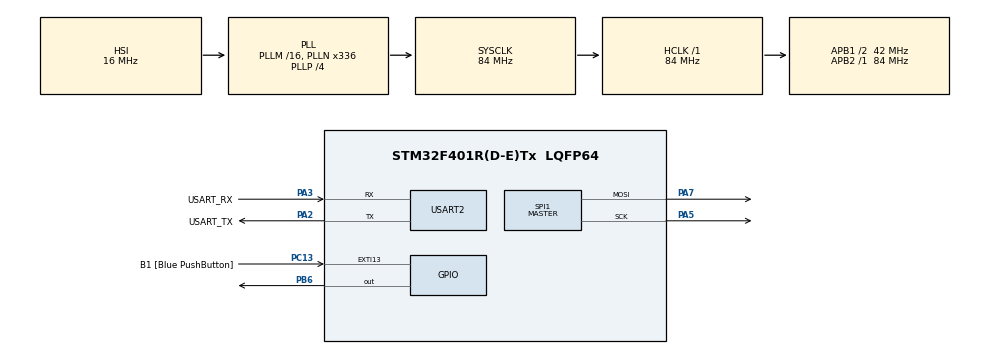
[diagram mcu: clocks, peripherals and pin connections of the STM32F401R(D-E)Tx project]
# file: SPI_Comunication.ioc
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Mcu.Family=STM32F4
Mcu.Name=STM32F401R(D-E)Tx
Mcu.Package=LQFP64
NVIC.PriorityGroup=NVIC_PRIORITYGROUP_0
NVIC.TIM2_IRQn=true\:0\:0\:false\:false\:true\:true\:true\:true
PA13.GPIO_Label=TMS
PA13.Mode=Serial_Wire
PA13.Signal=SYS_JTMS-SWDIO
PA14.GPIO_Label=TCK
PA14.Mode=Serial_Wire
PA14.Signal=SYS_JTCK-SWCLK
PA2.GPIO_Label=USART_TX
PA2.GPIO_Mode=GPIO_MODE_AF_PP
PA2.GPIO_PuPd=GPIO_NOPULL
PA2.GPIO_Speed=GPIO_SPEED_FREQ_LOW
PA2.Mode=Asynchronous
PA2.Signal=USART2_TX
PA3.GPIO_Label=USART_RX
PA3.GPIO_Mode=GPIO_MODE_AF_PP
PA3.GPIO_PuPd=GPIO_NOPULL
PA3.GPIO_Speed=GPIO_SPEED_FREQ_LOW
PA3.Mode=Asynchronous
PA3.Signal=USART2_RX
PA5.Mode=TX_Only_Simplex_Unidirect_Master
PA5.Signal=SPI1_SCK
PA7.Mode=TX_Only_Simplex_Unidirect_Master
PA7.Signal=SPI1_MOSI
PB3.GPIO_Label=SWO
PB3.Signal=SYS_JTDO-SWO
PB6.Signal=GPIO_Output
PC13-ANTI_TAMP.GPIO_Label=B1 [Blue PushButton]
PC13-ANTI_TAMP.GPIO_ModeDefaultEXTI=GPIO_MODE_IT_FALLING
PC13-ANTI_TAMP.GPIO_PuPd=GPIO_NOPULL
PC13-ANTI_TAMP.Signal=GPXTI13
PC14-OSC32_IN.Mode=LSE-External-Oscillator
PC14-OSC32_IN.Signal=RCC_OSC32_IN
PC15-OSC32_OUT.Mode=LSE-External-Oscillator
PC15-OSC32_OUT.Signal=RCC_OSC32_OUT
PH0\ -\ OSC_IN.Mode=HSE-External-Clock-Source
PH0\ -\ OSC_IN.Signal=RCC_OSC_IN
PH1\ -\ OSC_OUT.Mode=HSE-External-Clock-Source
PH1\ -\ OSC_OUT.Signal=RCC_OSC_OUT
ProjectManager.HeapSize=0x200
ProjectManager.StackSize=0x400
ProjectManager.TargetToolchain=STM32CubeIDE
RCC.48MHZClocksFreq_Value=48000000
RCC.AHBFreq_Value=84000000
RCC.APB1CLKDivider=RCC_HCLK_DIV2
RCC.APB1Freq_Value=42000000
RCC.APB1TimFreq_Value=84000000
RCC.APB2Freq_Value=84000000
RCC.APB2TimFreq_Value=84000000
RCC.CortexFreq_Value=84000000
RCC.HCLKFreq_Value=84000000
RCC.HSE_VALUE=8000000
RCC.HSI_VALUE=16000000
RCC.PLLN=336
RCC.PLLP=RCC_PLLP_DIV4
RCC.PLLQ=7
RCC.SYSCLKFreq_VALUE=84000000
RCC.SYSCLKSource=RCC_SYSCLKSOURCE_PLLCLK
RCC.VCOOutputFreq_Value=336000000
SPI1.BaudRatePrescaler=SPI_BAUDRATEPRESCALER_4
SPI1.Direction=SPI_DIRECTION_2LINES
SPI1.Mode=SPI_MODE_MASTER
SPI1.VirtualType=VM_MASTER
TIM2.Period=4000-1
TIM2.Prescaler=84-1
USART2.VirtualMode=VM_ASYNC
VP_TIM2_VS_ClockSourceINT.Mode=Internal
board=NUCLEO-F401RE

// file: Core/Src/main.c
/* USER CODE BEGIN Header */
/**
  ******************************************************************************
  * @file           : main.c
  * @brief          : Main program body
  ******************************************************************************
  * @attention
  *
  * Copyright (c) 2022 STMicroelectronics.
  * All rights reserved.
  *
  * This software is licensed under terms that can be found in the LICENSE file
  * in the root directory of this software component.
  * If no LICENSE file comes with this software, it is provided AS-IS.
  *
  ******************************************************************************
  */
/* USER CODE END Header */
#include "main.h"

SPI_HandleTypeDef hspi1;

TIM_HandleTypeDef htim2;

UART_HandleTypeDef huart2;

/* USER CODE BEGIN PV */
int column_index = 0;
uint8_t matrix[5][2]= {
		{31,16},
		{36,8},
		{68,4},
		{36,2},
		{31,1},
};

/* USER CODE END PV */

void SystemClock_Config(void);
static void MX_GPIO_Init(void);
static void MX_USART2_UART_Init(void);
static void MX_SPI1_Init(void);
static void MX_TIM2_Init(void);

/* USER CODE BEGIN 0 */
void HAL_TIM_PeriodElapsedCallback(TIM_HandleTypeDef *htim)
{
	// invio 2 byte alla volta: poichè 8 per le colonne e 8 per le righe
  HAL_SPI_Transmit(&hspi1, matrix[column_index], 2, 100);
  HAL_GPIO_WritePin(GPIOB, GPIO_PIN_6, 1);
  if(++column_index>4)
	  column_index=0;
  HAL_GPIO_WritePin(GPIOB, GPIO_PIN_6, 0);
}
/* USER CODE END 0 */

int main(void)
{

  /* MCU Configuration--------------------------------------------------------*/

  /* Reset of all peripherals, Initializes the Flash interface and the Systick. */
  HAL_Init();

  /* Configure the system clock */
  SystemClock_Config();

  /* Initialize all configured peripherals */
  MX_GPIO_Init();
  MX_USART2_UART_Init();
  MX_SPI1_Init();
  MX_TIM2_Init();

  /* Infinite loop */
  /* USER CODE BEGIN WHILE */
  HAL_TIM_Base_Start_IT(&htim2);
  while (1)
  {
    /* USER CODE END WHILE */

  }
}

void SystemClock_Config(void)
{
  RCC_OscInitTypeDef RCC_OscInitStruct = {0};
  RCC_ClkInitTypeDef RCC_ClkInitStruct = {0};

  /** Configure the main internal regulator output voltage
  */
  __HAL_RCC_PWR_CLK_ENABLE();
  __HAL_PWR_VOLTAGESCALING_CONFIG(PWR_REGULATOR_VOLTAGE_SCALE2);

  /** Initializes the RCC Oscillators according to the specified parameters
  * in the RCC_OscInitTypeDef structure.
  */
  RCC_OscInitStruct.OscillatorType = RCC_OSCILLATORTYPE_HSI;
  RCC_OscInitStruct.HSIState = RCC_HSI_ON;
  RCC_OscInitStruct.HSICalibrationValue = RCC_HSICALIBRATION_DEFAULT;
  RCC_OscInitStruct.PLL.PLLState = RCC_PLL_ON;
  RCC_OscInitStruct.PLL.PLLSource = RCC_PLLSOURCE_HSI;
  RCC_OscInitStruct.PLL.PLLM = 16;
  RCC_OscInitStruct.PLL.PLLN = 336;
  RCC_OscInitStruct.PLL.PLLP = RCC_PLLP_DIV4;
  RCC_OscInitStruct.PLL.PLLQ = 7;
  if (HAL_RCC_OscConfig(&RCC_OscInitStruct) != HAL_OK)
  {
    Error_Handler();
  }

  /** Initializes the CPU, AHB and APB buses clocks
  */
  RCC_ClkInitStruct.ClockType = RCC_CLOCKTYPE_HCLK|RCC_CLOCKTYPE_SYSCLK
                              |RCC_CLOCKTYPE_PCLK1|RCC_CLOCKTYPE_PCLK2;
  RCC_ClkInitStruct.SYSCLKSource = RCC_SYSCLKSOURCE_PLLCLK;
  RCC_ClkInitStruct.AHBCLKDivider = RCC_SYSCLK_DIV1;
  RCC_ClkInitStruct.APB1CLKDivider = RCC_HCLK_DIV2;
  RCC_ClkInitStruct.APB2CLKDivider = RCC_HCLK_DIV1;

  if (HAL_RCC_ClockConfig(&RCC_ClkInitStruct, FLASH_LATENCY_2) != HAL_OK)
  {
    Error_Handler();
  }
}

static void MX_SPI1_Init(void)
{

  /* SPI1 parameter configuration*/
  hspi1.Instance = SPI1;
  hspi1.Init.Mode = SPI_MODE_MASTER;
  hspi1.Init.Direction = SPI_DIRECTION_2LINES;
  hspi1.Init.DataSize = SPI_DATASIZE_8BIT;
  hspi1.Init.CLKPolarity = SPI_POLARITY_LOW;
  hspi1.Init.CLKPhase = SPI_PHASE_1EDGE;
  hspi1.Init.NSS = SPI_NSS_SOFT;
  hspi1.Init.BaudRatePrescaler = SPI_BAUDRATEPRESCALER_4;
  hspi1.Init.FirstBit = SPI_FIRSTBIT_MSB;
  hspi1.Init.TIMode = SPI_TIMODE_DISABLE;
  hspi1.Init.CRCCalculation = SPI_CRCCALCULATION_DISABLE;
  hspi1.Init.CRCPolynomial = 10;
  if (HAL_SPI_Init(&hspi1) != HAL_OK)
  {
    Error_Handler();
  }

}

static void MX_TIM2_Init(void)
{

  TIM_ClockConfigTypeDef sClockSourceConfig = {0};
  TIM_MasterConfigTypeDef sMasterConfig = {0};

  htim2.Instance = TIM2;
  htim2.Init.Prescaler = 84-1;
  htim2.Init.CounterMode = TIM_COUNTERMODE_UP;
  htim2.Init.Period = 4000-1;
  htim2.Init.ClockDivision = TIM_CLOCKDIVISION_DIV1;
  htim2.Init.AutoReloadPreload = TIM_AUTORELOAD_PRELOAD_DISABLE;
  if (HAL_TIM_Base_Init(&htim2) != HAL_OK)
  {
    Error_Handler();
  }
  sClockSourceConfig.ClockSource = TIM_CLOCKSOURCE_INTERNAL;
  if (HAL_TIM_ConfigClockSource(&htim2, &sClockSourceConfig) != HAL_OK)
  {
    Error_Handler();
  }
  sMasterConfig.MasterOutputTrigger = TIM_TRGO_RESET;
  sMasterConfig.MasterSlaveMode = TIM_MASTERSLAVEMODE_DISABLE;
  if (HAL_TIMEx_MasterConfigSynchronization(&htim2, &sMasterConfig) != HAL_OK)
  {
    Error_Handler();
  }

}

static void MX_USART2_UART_Init(void)
{

  huart2.Instance = USART2;
  huart2.Init.BaudRate = 115200;
  huart2.Init.WordLength = UART_WORDLENGTH_8B;
  huart2.Init.StopBits = UART_STOPBITS_1;
  huart2.Init.Parity = UART_PARITY_NONE;
  huart2.Init.Mode = UART_MODE_TX_RX;
  huart2.Init.HwFlowCtl = UART_HWCONTROL_NONE;
  huart2.Init.OverSampling = UART_OVERSAMPLING_16;
  if (HAL_UART_Init(&huart2) != HAL_OK)
  {
    Error_Handler();
  }

}

static void MX_GPIO_Init(void)
{
  GPIO_InitTypeDef GPIO_InitStruct = {0};

  /* GPIO Ports Clock Enable */
  __HAL_RCC_GPIOC_CLK_ENABLE();
  __HAL_RCC_GPIOH_CLK_ENABLE();
  __HAL_RCC_GPIOA_CLK_ENABLE();
  __HAL_RCC_GPIOB_CLK_ENABLE();

  /*Configure GPIO pin Output Level */
  HAL_GPIO_WritePin(GPIOB, GPIO_PIN_6, GPIO_PIN_RESET);

  /*Configure GPIO pin : B1_Pin */
  GPIO_InitStruct.Pin = B1_Pin;
  GPIO_InitStruct.Mode = GPIO_MODE_IT_FALLING;
  GPIO_InitStruct.Pull = GPIO_NOPULL;
  HAL_GPIO_Init(B1_GPIO_Port, &GPIO_InitStruct);

  /*Configure GPIO pin : PB6 */
  GPIO_InitStruct.Pin = GPIO_PIN_6;
  GPIO_InitStruct.Mode = GPIO_MODE_OUTPUT_PP;
  GPIO_InitStruct.Pull = GPIO_NOPULL;
  GPIO_InitStruct.Speed = GPIO_SPEED_FREQ_LOW;
  HAL_GPIO_Init(GPIOB, &GPIO_InitStruct);

}

void Error_Handler(void)
{
  __disable_irq();
  while (1)
  {
  }
}
